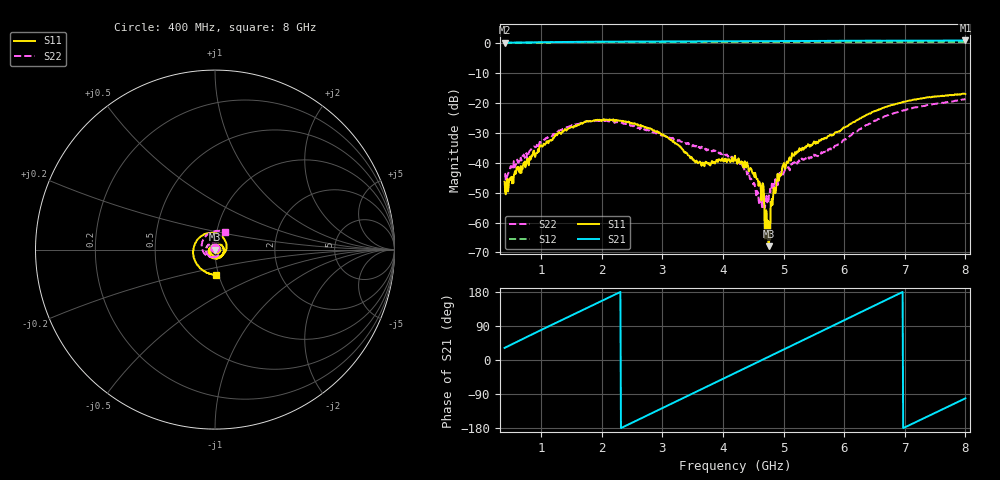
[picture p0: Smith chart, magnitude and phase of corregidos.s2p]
!Nueva Lista de parametros corregidos
# Hz S RI R 50
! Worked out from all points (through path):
!   801 points, 400 MHz to 8 GHz, reference 50 ohm
!   highest |S21| = 0.81 dB at 8 GHz (marker M1); lowest = 0.1 dB at 409.5 MHz (marker M2)
!   lowest |S11| = -67.9 dB at 4.761 GHz (marker M3), VSWR 1.00, Z = 50 - j0.0177 ohm
!   |S11| at or under -10 dB: start of sweep to end of sweep
!   |S22| runs from -55.5 to -18.8 dB; largest |S21 - S12| = 2.1
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4e8  0.00318 0.00359  0.8547 0.5325  0.9926 0.1529  -0.00166 0.00642
4.095e8  0.00217 0.0024  0.8472 0.5436  0.9926 0.1564  -0.003 0.00573
1.0555e9  -0.0128 0.0155  0.1194 1.019  0.9372 0.3918  0.0238 -0.00425
1.673e9  -0.0252 -0.0373  -0.6818 0.7893  0.8406 0.5932  -0.0175 -0.0428
2.3095e9  0.0489 -0.0113  -1.051 0.00777  0.6891 0.7649  -0.0397 0.025
2.9365e9  -0.00729 0.0318  -0.7068 -0.7852  0.5019 0.8984  0.0113 0.0284
3.2595e9  -0.0178 0.00875  -0.3101 -1.012  0.3955 0.9507  0.0189 0.0131
3.5635e9  0.0108 -0.000342  0.1188 -1.054  0.2903 0.9886  -0.0188 -0.00328
4.2e9  0.0106 0.0077  0.8789 -0.6018  0.06 1.03  -0.00816 0.00708
4.3995e9  0.00342 0.00955  1.009 -0.347  -0.0137 1.032  -0.00329 0.00543
4.637e9  -9.5e-05 0.00232  1.069 -0.0113  -0.1013 1.027  -0.00138 0.00185
4.7225e9  1.37e-05 0.00144  1.064 0.1118  -0.1327 1.024  -0.00279 -0.000204
4.7605e9  -0.000362 -0.000177  1.057 0.1659  -0.1469 1.022  -0.00266 -0.00119
4.827e9  0.00251 -3.96e-05  1.038 0.2606  -0.1712 1.019  -0.00429 -0.0009
4.9695e9  0.00687 -0.000165  0.9711 0.4543  -0.2234 1.009  -0.00639 -0.00126
5.1785e9  0.00782 0.0106  0.8075 0.7081  -0.2985 0.9895  -0.00918 0.00437
5.473e9  -0.0117 0.0157  0.4726 0.9677  -0.4024 0.9534  -0.00182 0.0125
6.0715e9  0.0131 -0.0398  -0.378 1.017  -0.5974 0.8466  0.0181 -0.019
6.7365e9  0.0174 0.0865  -1.034 0.3365  -0.7813 0.6861  -0.0576 -0.0237
7.316e9  -0.1195 0.00418  -0.9746 -0.484  -0.9062 0.518  -0.0573 0.0676
7.677e9  -0.0851 -0.1011  -0.6416 -0.8846  -0.9646 0.4012  -0.00263 0.1019
8e9  0.00283 -0.1397  -0.2122 -1.077  -1.003 0.2886  0.056 0.0988
